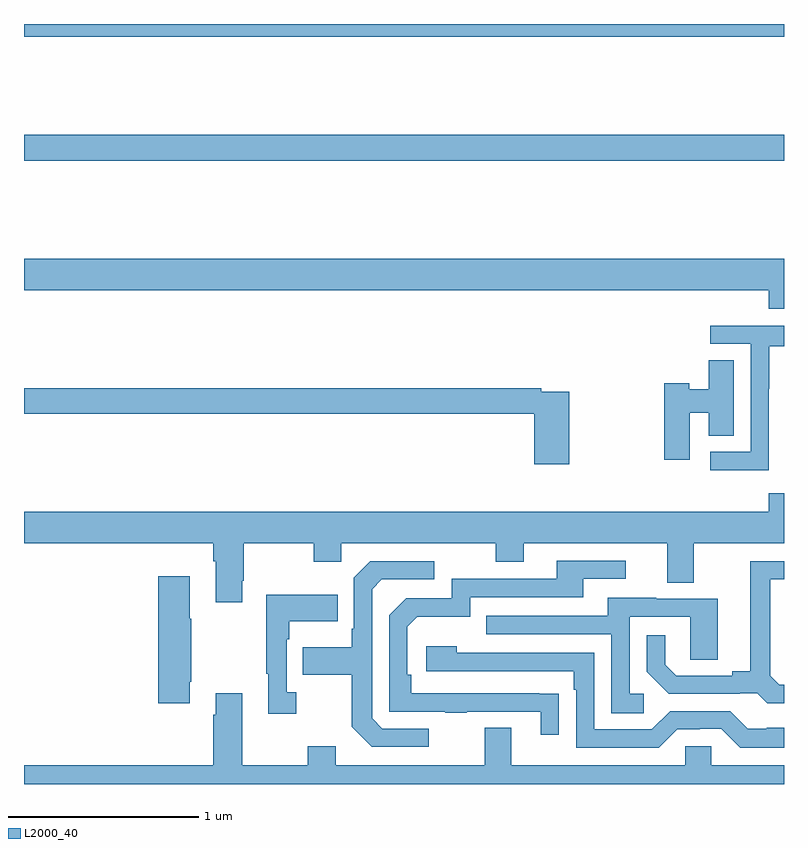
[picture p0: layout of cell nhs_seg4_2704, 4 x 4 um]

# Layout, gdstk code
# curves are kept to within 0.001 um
import gdstk
lib = gdstk.Library(unit=1e-6, precision=1e-09)
def R(c, l, rs):  # rectangles x0, y0, x1, y1
    for r in rs: c.add(gdstk.rectangle(r[:2], r[2:], *l))
def P(c, l, *ps):  # polygons
    for p in ps: c.add(gdstk.Polygon(p, *l))
L2000_40 = (2000, 40)

nhs_seg4_2704 = lib.new_cell('nhs_seg4_2704')
R(nhs_seg4_2704, L2000_40, [(253,784.18,257,784.316), (253,784.832,257,784.9)])
P(nhs_seg4_2704, L2000_40, [(257,783.664),(253,783.664),(253,783.5),(256.919,783.5),(256.919,783.401),(257,783.401)],
  [(256.92,782.98),(256.923,782.98),(256.923,783.204),(257,783.204),(257,783.312),(256.611,783.312),(256.611,783.216),(256.824,783.216),(256.824,782.649),(256.611,782.649),(256.611,782.551),(256.92,782.551)],
  [(256.504,782.855),(256.604,782.855),(256.604,782.734),(256.735,782.734),(256.735,783.131),(256.604,783.131),(256.604,782.977),(256.5,782.977),(256.5,783.008),(256.37,783.008),(256.37,782.607),(256.504,782.607)],
  [(255.869,782.964),(255.722,782.964),(255.722,782.984),(253,782.984),(253,782.848),(255.686,782.848),(255.686,782.583),(255.869,782.583)],
  [(253,782.168),(253.997,782.168),(253.997,782.072),(254.009,782.072),(254.009,781.857),(254.149,781.857),(254.149,781.969),(254.157,781.969),(254.157,782.168),(254.524,782.168),(254.524,782.069),(254.67,782.069),(254.67,782.168),(255.484,782.168),(255.484,782.069),(255.631,782.069),(255.631,782.168),(256.385,782.168),(256.385,781.96),(256.525,781.96),(256.525,782.168),(257,782.168),(257,782.431),(256.919,782.431),(256.919,782.332),(253,782.332)],
  [(255.815,781.376),(255.038,781.377),(255.038,781.474),(255.018,781.474),(255.018,781.728),(255.071,781.781),(255.348,781.781),(255.348,781.884),(255.943,781.884),(255.943,781.98),(256.168,781.98),(256.168,782.076),(255.803,782.076),(255.803,781.98),(255.252,781.98),(255.252,781.878),(255.012,781.878),(254.922,781.788),(254.922,781.281),(255.217,781.281),(255.217,781.276),(255.329,781.276),(255.329,781.281),(255.719,781.281),(255.719,781.158),(255.815,781.158)],
  [(257,781.422),(256.974,781.422),(256.927,781.469),(256.927,781.977),(257,781.977),(257,782.073),(256.823,782.073),(256.823,781.493),(256.727,781.493),(256.727,781.47),(256.432,781.47),(256.375,781.527),(256.375,781.684),(256.278,781.684),(256.278,781.49),(256.394,781.374),(256.766,781.374),(256.766,781.377),(256.86,781.377),(256.912,781.325),(257,781.325)],
  [(255.13,781.191),(254.886,781.191),(254.832,781.245),(254.832,781.926),(254.883,781.977),(255.16,781.977),(255.16,782.073),(254.823,782.073),(254.736,781.986),(254.736,781.717),(254.724,781.717),(254.724,781.621),(254.467,781.621),(254.467,781.474),(254.724,781.474),(254.724,781.201),(254.829,781.095),(255.13,781.095)],
  [(253.873,781.438),(253.881,781.438),(253.881,781.769),(253.873,781.769),(253.873,781.993),(253.706,781.993),(253.706,781.326),(253.873,781.326)],
  [(254.434,781.382),(254.382,781.382),(254.382,781.661),(254.395,781.661),(254.395,781.757),(254.651,781.757),(254.651,781.897),(254.274,781.897),(254.274,781.481),(254.285,781.481),(254.285,781.269),(254.434,781.269)],
  [(256.261,781.374),(256.188,781.374),(256.188,781.779),(256.506,781.779),(256.506,781.555),(256.651,781.555),(256.651,781.875),(256.327,781.875),(256.327,781.879),(256.073,781.879),(256.073,781.785),(255.433,781.785),(255.433,781.689),(256.092,781.689),(256.092,781.273),(256.261,781.273)],
  [(257,781.195),(256.909,781.195),(256.909,781.191),(256.809,781.191),(256.716,781.284),(256.401,781.284),(256.305,781.188),(256.002,781.188),(256.002,781.59),(255.278,781.59),(255.278,781.624),(255.117,781.624),(255.117,781.494),(255.893,781.494),(255.893,781.397),(255.906,781.397),(255.906,781.092),(256.341,781.092),(256.437,781.188),(256.556,781.188),(256.556,781.191),(256.671,781.191),(256.771,781.091),(257,781.091)],
  [(257,781),(256.617,781),(256.617,781.098),(256.479,781.098),(256.479,781),(255.565,781),(255.565,781.195),(255.425,781.195),(255.425,781),(254.641,781),(254.641,781.099),(254.494,781.099),(254.494,781),(254.149,781),(254.149,781.378),(254.009,781.378),(254.009,781.265),(253.997,781.265),(253.997,781),(253,781),(253,780.9),(257,780.9)])

lib.write_gds('nhs_seg4_2704.gds')
